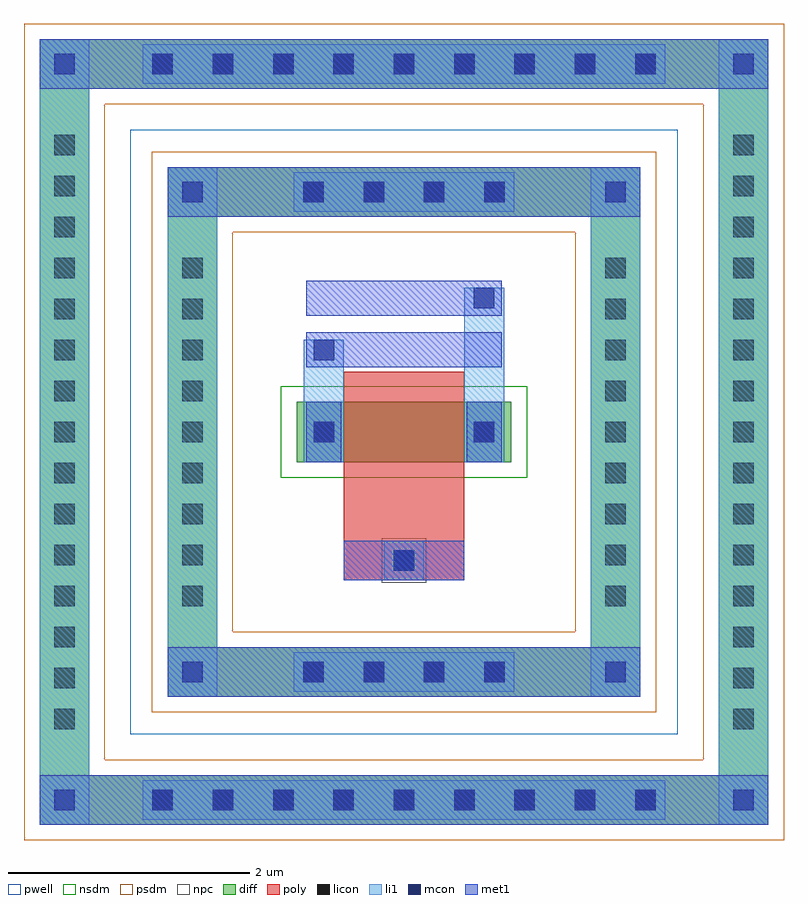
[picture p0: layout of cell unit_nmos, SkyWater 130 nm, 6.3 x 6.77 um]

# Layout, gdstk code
import gdstk
lib = gdstk.Library(unit=1e-6, precision=5e-09)
def R(c, l, rs):  # rectangles x0, y0, x1, y1
    for r in rs: c.add(gdstk.rectangle(r[:2], r[2:], *l))
def A(c, l, x, y, w, h, nx, ny, dx, dy):  # array of equal rectangles
    R(c, l, [(x+i*dx, y+j*dy, x+i*dx+w, y+j*dy+h) for i in range(nx) for j in range(ny)])
def P(c, l, *ps):  # polygons
    for p in ps: c.add(gdstk.Polygon(p, *l))
pwell = (64, 44)
diff = (65, 20)
poly = (66, 20)
licon = (66, 44)
li1 = (67, 20)
mcon = (67, 44)
met1 = (68, 20)
nsdm = (93, 44)
psdm = (94, 20)
npc = (95, 20)

unit_nmos = lib.new_cell('unit_nmos')
R(unit_nmos, pwell, [(-2.27,-2.505,2.27,2.505)])
A(unit_nmos, diff, -2.205, -3.255, 0.41, 0.41, 9, 2, 0.5, 6.1)
A(unit_nmos, diff, -3.02, -2.585, 0.41, 0.41, 1, 15, 0, 0.34)
A(unit_nmos, diff, 2.61, -2.585, 0.41, 0.41, 1, 15, 0, 0.34)
A(unit_nmos, diff, -0.955, -2.195, 0.41, 0.41, 4, 2, 0.5, 3.98)
A(unit_nmos, diff, -1.96, -1.565, 0.41, 0.41, 1, 9, 0, 0.34)
A(unit_nmos, diff, 1.55, -1.565, 0.41, 0.41, 1, 9, 0, 0.34)
R(unit_nmos, diff, [(-2.205,-3.255,2.205,-2.845), (-3.02,-2.585,-2.61,2.585), (2.61,-2.585,3.02,2.585), (-0.955,-2.195,0.955,-1.785), (-1.96,-1.565,-1.55,1.565), (1.55,-1.565,1.96,1.565), (-0.89,-0.25,0.89,0.25), (-0.955,1.785,0.955,2.195), (-2.205,2.845,2.205,3.255)])
P(unit_nmos, diff, [(3.02,3.255),(-3.02,3.255),(-3.02,-2.845),(-2.61,-2.845),(-2.61,2.845),(2.61,2.845),(2.61,-2.845),(-2.61,-2.845),(-3.02,-2.845),(-3.02,-3.255),(3.02,-3.255)],
  [(1.96,2.195),(-1.96,2.195),(-1.96,-1.785),(-1.55,-1.785),(-1.55,1.785),(1.55,1.785),(1.55,-1.785),(-1.55,-1.785),(-1.96,-1.785),(-1.96,-2.195),(1.96,-2.195)])
R(unit_nmos, poly, [(-0.5,-1.23,0.5,-0.9), (-0.165,-1.23,0.165,-0.9), (-0.5,-0.9,0.5,-0.5), (-0.5,-0.5,0.5,0.5)])
A(unit_nmos, licon, -2.085, -3.135, 0.17, 0.17, 9, 2, 0.5, 6.1)
A(unit_nmos, licon, -2.9, -2.465, 0.17, 0.17, 1, 15, 0, 0.34)
A(unit_nmos, licon, 2.73, -2.465, 0.17, 0.17, 1, 15, 0, 0.34)
A(unit_nmos, licon, -0.835, -2.075, 0.17, 0.17, 4, 2, 0.5, 3.98)
A(unit_nmos, licon, -1.84, -1.445, 0.17, 0.17, 1, 9, 0, 0.34)
A(unit_nmos, licon, 1.67, -1.445, 0.17, 0.17, 1, 9, 0, 0.34)
R(unit_nmos, licon, [(-0.085,-1.15,0.085,-0.98), (-0.75,-0.085,-0.58,0.085), (0.58,-0.085,0.75,0.085)])
A(unit_nmos, li1, -2.165, -3.215, 0.33, 0.33, 9, 2, 0.5, 6.1)
A(unit_nmos, li1, -2.98, -2.545, 0.33, 0.33, 1, 15, 0, 0.34)
A(unit_nmos, li1, 2.65, -2.545, 0.33, 0.33, 1, 15, 0, 0.34)
A(unit_nmos, li1, -0.915, -2.155, 0.33, 0.33, 4, 2, 0.5, 3.98)
A(unit_nmos, li1, -1.92, -1.525, 0.33, 0.33, 1, 9, 0, 0.34)
A(unit_nmos, li1, 1.59, -1.525, 0.33, 0.33, 1, 9, 0, 0.34)
R(unit_nmos, li1, [(-3.02,-3.255,-2.61,-2.845), (2.61,-3.255,3.02,-2.845), (-2.165,-3.215,2.165,-2.885), (-2.9,-3.135,-2.73,-2.965), (-2.9,-3.135,-2.73,-2.965), (2.73,-3.135,2.9,-2.965), (2.73,-3.135,2.9,-2.965), (-3.02,-2.845,-2.61,2.845), (2.61,-2.845,3.02,2.845), (-1.96,-2.195,-1.55,-1.785), (1.55,-2.195,1.96,-1.785), (-0.915,-2.155,0.915,-1.825), (-1.84,-2.075,-1.67,-1.905), (-1.84,-2.075,-1.67,-1.905), (1.67,-2.075,1.84,-1.905), (1.67,-2.075,1.84,-1.905), (-1.96,-1.785,-1.55,1.785), (1.55,-1.785,1.96,1.785), (-0.165,-1.23,0.165,-0.9), (-0.83,-0.25,-0.5,0.25), (0.5,-0.25,0.83,0.25), (-0.83,-0.165,-0.5,0.165), (0.5,-0.165,0.83,0.165), (-0.75,-0.085,-0.58,0.085), (-0.75,-0.085,-0.58,0.085), (0.58,-0.085,0.75,0.085), (0.58,-0.085,0.75,0.085), (-0.83,0.25,-0.5,0.765), (0.5,0.25,0.83,1.195), (-0.75,0.595,-0.58,0.765), (0.58,1.025,0.75,1.195), (-1.96,1.785,-1.55,2.195), (1.55,1.785,1.96,2.195), (-0.915,1.825,0.915,2.155), (-1.84,1.905,-1.67,2.075), (-1.84,1.905,-1.67,2.075), (1.67,1.905,1.84,2.075), (1.67,1.905,1.84,2.075), (-3.02,2.845,-2.61,3.255), (2.61,2.845,3.02,3.255), (-2.165,2.885,2.165,3.215), (-2.9,2.965,-2.73,3.135), (-2.9,2.965,-2.73,3.135), (2.73,2.965,2.9,3.135), (2.73,2.965,2.9,3.135)])
A(unit_nmos, mcon, -2.085, -3.135, 0.17, 0.17, 9, 2, 0.5, 6.1)
A(unit_nmos, mcon, -0.835, -2.075, 0.17, 0.17, 4, 2, 0.5, 3.98)
R(unit_nmos, mcon, [(-2.9,-3.135,-2.73,-2.965), (2.73,-3.135,2.9,-2.965), (-1.84,-2.075,-1.67,-1.905), (1.67,-2.075,1.84,-1.905), (-0.085,-1.15,0.085,-0.98), (-0.75,-0.085,-0.58,0.085), (0.58,-0.085,0.75,0.085), (-0.75,0.595,-0.58,0.765), (0.58,1.025,0.75,1.195), (-1.84,1.905,-1.67,2.075), (1.67,1.905,1.84,2.075), (-2.9,2.965,-2.73,3.135), (2.73,2.965,2.9,3.135)])
A(unit_nmos, met1, -2.145, -3.195, 0.29, 0.29, 9, 2, 0.5, 6.1)
A(unit_nmos, met1, -0.895, -2.135, 0.29, 0.29, 4, 2, 0.5, 3.98)
R(unit_nmos, met1, [(-3.02,-3.255,-2.61,-2.845), (-3.02,-3.255,-2.61,-2.845), (-2.61,-3.255,2.61,-2.845), (2.61,-3.255,3.02,-2.845), (2.61,-3.255,3.02,-2.845), (-2.96,-3.195,-2.67,-2.905), (2.67,-3.195,2.96,-2.905), (-1.96,-2.195,-1.55,-1.785), (-1.96,-2.195,-1.55,-1.785), (-1.55,-2.195,1.55,-1.785), (1.55,-2.195,1.96,-1.785), (1.55,-2.195,1.96,-1.785), (-1.9,-2.135,-1.61,-1.845), (1.61,-2.135,1.9,-1.845), (-0.5,-1.23,0.5,-0.9), (-0.145,-1.21,0.145,-0.92), (-0.81,-0.25,-0.52,0.25), (0.52,-0.25,0.81,0.25), (-0.81,-0.145,-0.52,0.145), (0.52,-0.145,0.81,0.145), (-0.81,0.535,-0.52,0.825), (-0.81,0.535,0.81,0.825), (-0.81,0.965,0.81,1.255), (0.52,0.965,0.81,1.255), (-1.96,1.785,-1.55,2.195), (-1.96,1.785,-1.55,2.195), (-1.55,1.785,1.55,2.195), (1.55,1.785,1.96,2.195), (1.55,1.785,1.96,2.195), (-1.9,1.845,-1.61,2.135), (1.61,1.845,1.9,2.135), (-3.02,2.845,-2.61,3.255), (-3.02,2.845,-2.61,3.255), (-2.61,2.845,2.61,3.255), (2.61,2.845,3.02,3.255), (2.61,2.845,3.02,3.255), (-2.96,2.905,-2.67,3.195), (2.67,2.905,2.96,3.195)])
R(unit_nmos, nsdm, [(-1.02,-0.38,1.02,0.38)])
P(unit_nmos, psdm, [(3.15,3.385),(-3.15,3.385),(-3.15,-2.715),(-2.48,-2.715),(-2.48,2.715),(2.48,2.715),(2.48,-2.715),(-2.48,-2.715),(-3.15,-2.715),(-3.15,-3.385),(3.15,-3.385)],
  [(2.09,2.325),(-2.09,2.325),(-2.09,-1.655),(-1.42,-1.655),(-1.42,1.655),(1.42,1.655),(1.42,-1.655),(-1.42,-1.655),(-2.09,-1.655),(-2.09,-2.325),(2.09,-2.325)])
R(unit_nmos, npc, [(-0.185,-1.25,0.185,-0.88), (-0.185,-1.25,0.185,-0.88)])

lib.write_gds('unit_nmos.gds')
